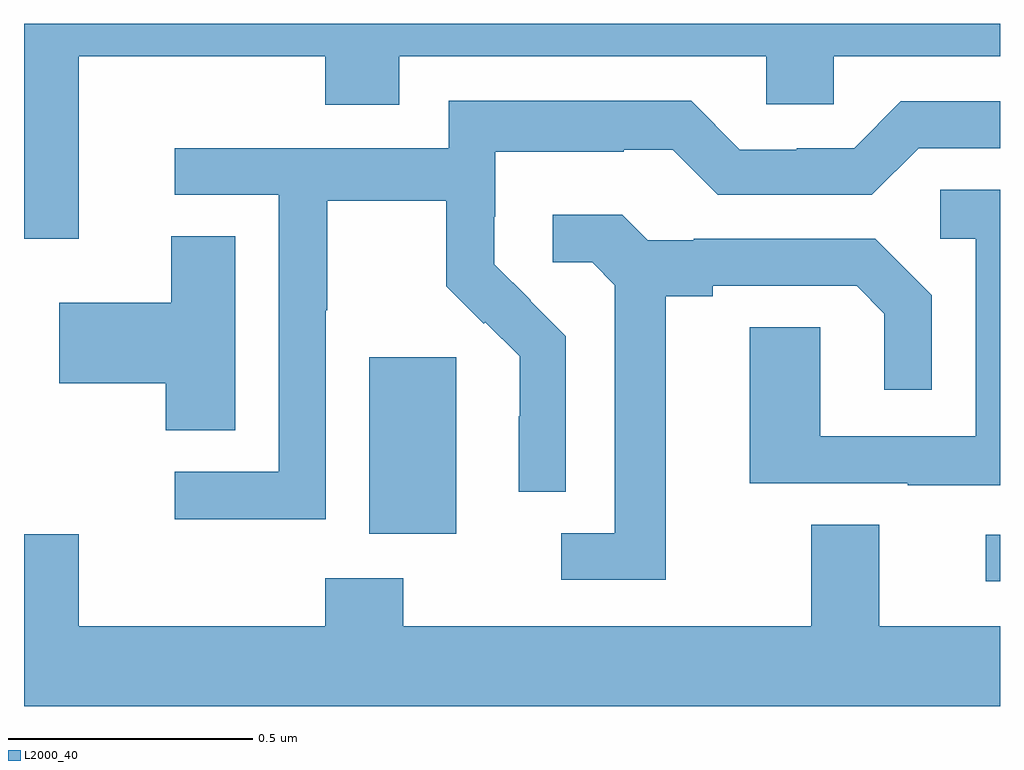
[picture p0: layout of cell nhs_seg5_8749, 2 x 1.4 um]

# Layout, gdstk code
import gdstk
lib = gdstk.Library(unit=1e-6, precision=1e-09)
def R(c, l, rs):  # rectangles x0, y0, x1, y1
    for r in rs: c.add(gdstk.rectangle(r[:2], r[2:], *l))
def P(c, l, *ps):  # polygons
    for p in ps: c.add(gdstk.Polygon(p, *l))
L2000_40 = (2000, 40)

nhs_seg5_8749 = lib.new_cell('nhs_seg5_8749')
R(nhs_seg5_8749, L2000_40, [(226.971,883.656,227,883.752), (225.707,883.754,225.886,884.115)])
P(nhs_seg5_8749, L2000_40, [(225.112,884.732),(225.617,884.732),(225.617,884.633),(225.769,884.633),(225.769,884.732),(226.521,884.732),(226.521,884.634),(226.659,884.634),(226.659,884.732),(227,884.732),(227,884.799),(225,884.799),(225,884.358),(225.112,884.358)],
  [(225.618,884.212),(225.621,884.212),(225.621,884.436),(225.865,884.436),(225.865,884.261),(225.942,884.184),(225.945,884.187),(226.016,884.117),(226.016,883.994),(226.014,883.994),(226.014,883.84),(226.11,883.84),(226.11,884.158),(226.037,884.231),(226.038,884.232),(225.964,884.306),(225.964,884.403),(225.966,884.403),(225.966,884.537),(226.229,884.537),(226.229,884.541),(226.329,884.541),(226.422,884.448),(226.737,884.448),(226.833,884.544),(227,884.544),(227,884.64),(226.797,884.64),(226.701,884.544),(226.583,884.544),(226.583,884.541),(226.467,884.541),(226.367,884.641),(225.87,884.641),(225.87,884.544),(225.309,884.544),(225.309,884.448),(225.522,884.448),(225.522,883.881),(225.309,883.881),(225.309,883.783),(225.618,883.783)],
  [(227,884.459),(226.878,884.459),(226.878,884.358),(226.95,884.358),(226.95,883.953),(226.632,883.953),(226.632,884.177),(226.487,884.177),(226.487,883.857),(226.811,883.857),(226.811,883.853),(227,883.853)],
  [(226.315,884.24),(226.411,884.24),(226.411,884.262),(226.706,884.262),(226.763,884.205),(226.763,884.049),(226.86,884.049),(226.86,884.242),(226.744,884.358),(226.372,884.358),(226.372,884.355),(226.278,884.355),(226.226,884.407),(226.083,884.407),(226.083,884.31),(226.164,884.31),(226.211,884.263),(226.211,883.755),(226.101,883.755),(226.101,883.659),(226.315,883.659)],
  [(225.433,884.363),(225.302,884.363),(225.302,884.227),(225.072,884.227),(225.072,884.062),(225.29,884.062),(225.29,883.966),(225.433,883.966)],
  [(227,883.564),(226.753,883.564),(226.753,883.772),(226.613,883.772),(226.613,883.564),(225.777,883.564),(225.777,883.663),(225.617,883.663),(225.617,883.564),(225.112,883.564),(225.112,883.753),(225,883.753),(225,883.4),(227,883.4)])

lib.write_gds('nhs_seg5_8749.gds')
